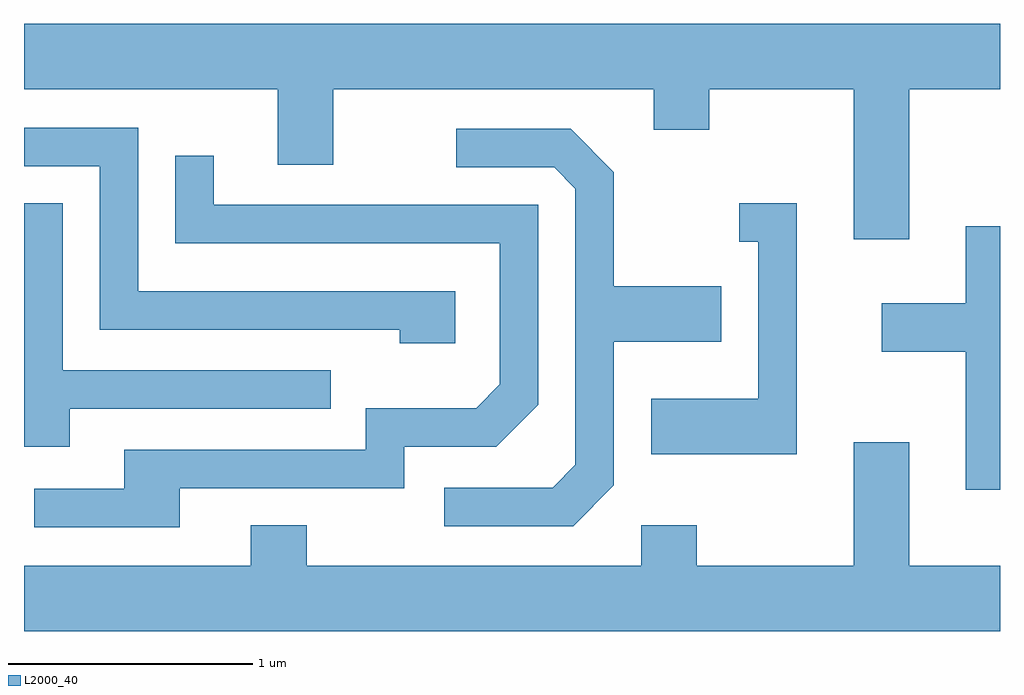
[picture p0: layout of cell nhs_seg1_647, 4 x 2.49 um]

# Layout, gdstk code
import gdstk
lib = gdstk.Library(unit=1e-6, precision=1e-09)
def P(c, l, *ps):  # polygons
    for p in ps: c.add(gdstk.Polygon(p, *l))
L2000_40 = (2000, 40)

nhs_seg1_647 = lib.new_cell('nhs_seg1_647')
P(nhs_seg1_647, L2000_40, [(207.239,968.396),(207.611,968.396),(207.611,968.664),(203.611,968.664),(203.611,968.396),(204.651,968.396),(204.651,968.086),(204.879,968.086),(204.879,968.396),(206.191,968.396),(206.191,968.231),(206.419,968.231),(206.419,968.396),(207.011,968.396),(207.011,967.781),(207.239,967.781)],
  [(205.379,967.569),(204.079,967.569),(204.079,968.239),(203.611,968.239),(203.611,968.081),(203.921,968.081),(203.921,967.411),(205.151,967.411),(205.151,967.356),(205.379,967.356)],
  [(206.029,966.774),(206.029,967.361),(206.469,967.361),(206.469,967.589),(206.029,967.589),(206.029,968.057),(205.852,968.234),(205.383,968.234),(205.383,968.076),(205.784,968.076),(205.871,967.989),(205.871,966.857),(205.779,966.764),(205.333,966.764),(205.333,966.606),(205.862,966.606)],
  [(204.249,966.761),(205.169,966.761),(205.169,966.931),(205.547,966.931),(205.719,967.104),(205.719,967.924),(204.389,967.924),(204.389,968.123),(204.231,968.123),(204.231,967.766),(205.561,967.766),(205.561,967.187),(205.464,967.089),(205.011,967.089),(205.011,966.919),(204.021,966.919),(204.021,966.759),(203.653,966.759),(203.653,966.601),(204.249,966.601)],
  [(203.799,967.086),(204.868,967.086),(204.868,967.244),(203.769,967.244),(203.769,967.929),(203.611,967.929),(203.611,966.931),(203.799,966.931)],
  [(206.779,967.929),(206.543,967.929),(206.543,967.771),(206.621,967.771),(206.621,967.129),(206.181,967.129),(206.181,966.901),(206.779,966.901)],
  [(207.611,967.834),(207.471,967.834),(207.471,967.519),(207.126,967.519),(207.126,967.321),(207.471,967.321),(207.471,966.756),(207.611,966.756)],
  [(207.611,966.444),(207.239,966.444),(207.239,966.949),(207.011,966.949),(207.011,966.444),(206.369,966.444),(206.369,966.609),(206.141,966.609),(206.141,966.444),(204.769,966.444),(204.769,966.609),(204.541,966.609),(204.541,966.444),(203.611,966.444),(203.611,966.176),(207.611,966.176)])

lib.write_gds('nhs_seg1_647.gds')
